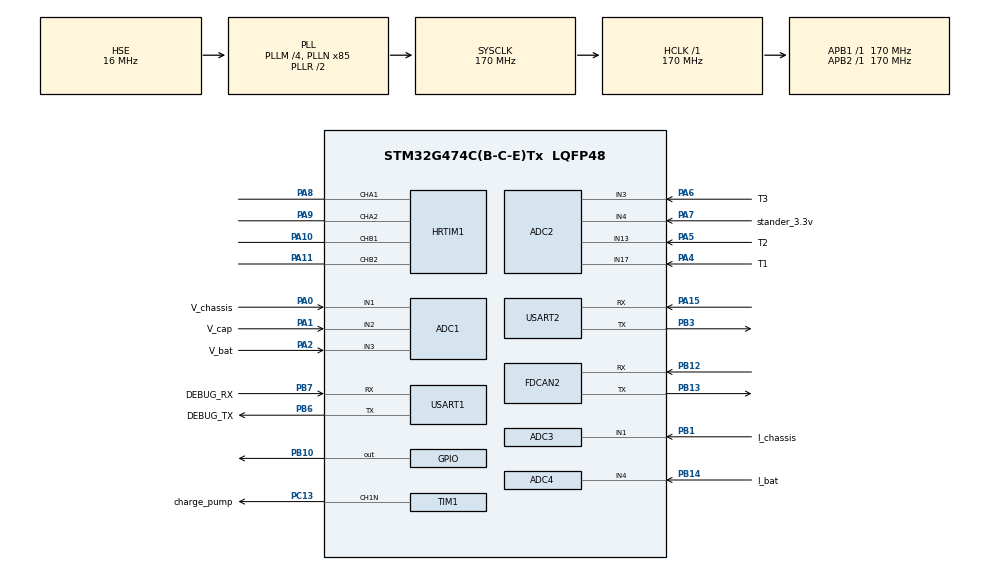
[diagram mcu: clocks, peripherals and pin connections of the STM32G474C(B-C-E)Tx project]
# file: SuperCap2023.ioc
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ADC1.Channel-0\#ChannelRegularConversion=ADC_CHANNEL_VREFINT
ADC1.Channel-3\#ChannelRegularConversion=ADC_CHANNEL_1
ADC1.Channel-4\#ChannelRegularConversion=ADC_CHANNEL_2
ADC1.Channel-5\#ChannelRegularConversion=ADC_CHANNEL_3
ADC1.ContinuousConvMode=DISABLE
ADC1.DMAContinuousRequests=ENABLE
ADC1.DiscontinuousConvMode=DISABLE
ADC1.ExternalTrigConv=ADC_EXTERNALTRIG_HRTIM_TRG3
ADC1.NbrOfConversion=4
ADC1.NbrOfConversionFlag=1
ADC1.OffsetNumber-0\#ChannelRegularConversion=ADC_OFFSET_NONE
ADC1.OffsetNumber-3\#ChannelRegularConversion=ADC_OFFSET_NONE
ADC1.OffsetNumber-4\#ChannelRegularConversion=ADC_OFFSET_NONE
ADC1.OffsetNumber-5\#ChannelRegularConversion=ADC_OFFSET_NONE
ADC1.OversamplingMode=ENABLE
ADC1.Rank-0\#ChannelRegularConversion=1
ADC1.Rank-3\#ChannelRegularConversion=2
ADC1.Rank-4\#ChannelRegularConversion=3
ADC1.Rank-5\#ChannelRegularConversion=4
ADC1.Ratio=ADC_OVERSAMPLING_RATIO_16
ADC1.RightBitShift=ADC_RIGHTBITSHIFT_NONE
ADC1.SamplingTime-0\#ChannelRegularConversion=ADC_SAMPLETIME_12CYCLES_5
ADC1.SamplingTime-3\#ChannelRegularConversion=ADC_SAMPLETIME_12CYCLES_5
ADC1.SamplingTime-4\#ChannelRegularConversion=ADC_SAMPLETIME_12CYCLES_5
ADC1.SamplingTime-5\#ChannelRegularConversion=ADC_SAMPLETIME_12CYCLES_5
ADC1.master=1
ADC2.Channel-0\#ChannelRegularConversion=ADC_CHANNEL_4
ADC2.Channel-1\#ChannelRegularConversion=ADC_CHANNEL_17
ADC2.Channel-2\#ChannelRegularConversion=ADC_CHANNEL_13
ADC2.Channel-3\#ChannelRegularConversion=ADC_CHANNEL_3
ADC2.ContinuousConvMode=DISABLE
ADC2.DMAContinuousRequests=ENABLE
ADC2.DiscontinuousConvMode=ENABLE
ADC2.ExternalTrigConv=ADC_EXTERNALTRIG_HRTIM_TRG3
ADC2.NbrOfConversion=4
ADC2.NbrOfConversionFlag=1
ADC2.NbrOfDiscConversion=3
ADC2.OffsetNumber-0\#ChannelRegularConversion=ADC_OFFSET_NONE
ADC2.OffsetNumber-1\#ChannelRegularConversion=ADC_OFFSET_NONE
ADC2.OffsetNumber-2\#ChannelRegularConversion=ADC_OFFSET_NONE
ADC2.OffsetNumber-3\#ChannelRegularConversion=ADC_OFFSET_NONE
ADC2.OversamplingMode=ENABLE
ADC2.Rank-0\#ChannelRegularConversion=1
ADC2.Rank-1\#ChannelRegularConversion=2
ADC2.Rank-2\#ChannelRegularConversion=3
ADC2.Rank-3\#ChannelRegularConversion=4
ADC2.Ratio=ADC_OVERSAMPLING_RATIO_256
ADC2.RightBitShift=ADC_RIGHTBITSHIFT_4
ADC2.SamplingTime-0\#ChannelRegularConversion=ADC_SAMPLETIME_640CYCLES_5
ADC2.SamplingTime-1\#ChannelRegularConversion=ADC_SAMPLETIME_640CYCLES_5
ADC2.SamplingTime-2\#ChannelRegularConversion=ADC_SAMPLETIME_640CYCLES_5
ADC2.SamplingTime-3\#ChannelRegularConversion=ADC_SAMPLETIME_640CYCLES_5
ADC3.Channel-2\#ChannelRegularConversion=ADC_CHANNEL_1
ADC3.DMAContinuousRequests=ENABLE
ADC3.ExternalTrigConv=ADC_EXTERNALTRIG_HRTIM_TRG3
ADC3.NbrOfConversionFlag=1
ADC3.OffsetNumber-2\#ChannelRegularConversion=ADC_OFFSET_NONE
ADC3.OversamplingMode=ENABLE
ADC3.Rank-2\#ChannelRegularConversion=1
ADC3.Ratio=ADC_OVERSAMPLING_RATIO_16
ADC3.SamplingTime-2\#ChannelRegularConversion=ADC_SAMPLETIME_12CYCLES_5
ADC3.master=1
ADC4.Channel-0\#ChannelRegularConversion=ADC_CHANNEL_4
ADC4.DMAContinuousRequests=ENABLE
ADC4.ExternalTrigConv=ADC_EXTERNALTRIG_HRTIM_TRG3
ADC4.NbrOfConversionFlag=1
ADC4.OffsetNumber-0\#ChannelRegularConversion=ADC_OFFSET_NONE
ADC4.OversamplingMode=ENABLE
ADC4.Rank-0\#ChannelRegularConversion=1
ADC4.Ratio=ADC_OVERSAMPLING_RATIO_16
ADC4.SamplingTime-0\#ChannelRegularConversion=ADC_SAMPLETIME_12CYCLES_5
Dma.ADC1.1.Direction=DMA_PERIPH_TO_MEMORY
Dma.ADC1.1.EventEnable=DISABLE
Dma.ADC1.1.Instance=DMA1_Channel2
Dma.ADC1.1.MemDataAlignment=DMA_MDATAALIGN_HALFWORD
Dma.ADC1.1.MemInc=DMA_MINC_ENABLE
Dma.ADC1.1.Mode=DMA_CIRCULAR
Dma.ADC1.1.PeriphDataAlignment=DMA_PDATAALIGN_HALFWORD
Dma.ADC1.1.PeriphInc=DMA_PINC_DISABLE
Dma.ADC1.1.Polarity=HAL_DMAMUX_REQ_GEN_RISING
Dma.ADC1.1.Priority=DMA_PRIORITY_VERY_HIGH
Dma.ADC1.1.RequestNumber=1
Dma.ADC1.1.SignalID=NONE
Dma.ADC1.1.SyncEnable=DISABLE
Dma.ADC1.1.SyncPolarity=HAL_DMAMUX_SYNC_NO_EVENT
Dma.ADC1.1.SyncRequestNumber=1
Dma.ADC1.1.SyncSignalID=NONE
Dma.ADC2.0.Direction=DMA_PERIPH_TO_MEMORY
Dma.ADC2.0.EventEnable=DISABLE
Dma.ADC2.0.Instance=DMA1_Channel1
Dma.ADC2.0.MemDataAlignment=DMA_MDATAALIGN_HALFWORD
Dma.ADC2.0.MemInc=DMA_MINC_ENABLE
Dma.ADC2.0.Mode=DMA_CIRCULAR
Dma.ADC2.0.PeriphDataAlignment=DMA_PDATAALIGN_HALFWORD
Dma.ADC2.0.PeriphInc=DMA_PINC_DISABLE
Dma.ADC2.0.Polarity=HAL_DMAMUX_REQ_GEN_RISING
Dma.ADC2.0.Priority=DMA_PRIORITY_VERY_HIGH
Dma.ADC2.0.RequestNumber=1
Dma.ADC2.0.SignalID=NONE
Dma.ADC2.0.SyncEnable=DISABLE
Dma.ADC2.0.SyncPolarity=HAL_DMAMUX_SYNC_NO_EVENT
Dma.ADC2.0.SyncRequestNumber=1
Dma.ADC2.0.SyncSignalID=NONE
Dma.ADC3.8.Direction=DMA_PERIPH_TO_MEMORY
Dma.ADC3.8.EventEnable=DISABLE
Dma.ADC3.8.Instance=DMA2_Channel1
Dma.ADC3.8.MemDataAlignment=DMA_MDATAALIGN_HALFWORD
Dma.ADC3.8.MemInc=DMA_MINC_ENABLE
Dma.ADC3.8.Mode=DMA_CIRCULAR
Dma.ADC3.8.PeriphDataAlignment=DMA_PDATAALIGN_HALFWORD
Dma.ADC3.8.PeriphInc=DMA_PINC_DISABLE
Dma.ADC3.8.Polarity=HAL_DMAMUX_REQ_GEN_RISING
Dma.ADC3.8.Priority=DMA_PRIORITY_VERY_HIGH
Dma.ADC3.8.RequestNumber=1
Dma.ADC3.8.SignalID=NONE
Dma.ADC3.8.SyncEnable=DISABLE
Dma.ADC3.8.SyncPolarity=HAL_DMAMUX_SYNC_NO_EVENT
Dma.ADC3.8.SyncRequestNumber=1
Dma.ADC3.8.SyncSignalID=NONE
Dma.ADC4.9.Direction=DMA_PERIPH_TO_MEMORY
Dma.ADC4.9.EventEnable=DISABLE
Dma.ADC4.9.Instance=DMA2_Channel2
Dma.ADC4.9.MemDataAlignment=DMA_MDATAALIGN_HALFWORD
Dma.ADC4.9.MemInc=DMA_MINC_ENABLE
Dma.ADC4.9.Mode=DMA_CIRCULAR
Dma.ADC4.9.PeriphDataAlignment=DMA_PDATAALIGN_HALFWORD
Dma.ADC4.9.PeriphInc=DMA_PINC_DISABLE
Dma.ADC4.9.Polarity=HAL_DMAMUX_REQ_GEN_RISING
Dma.ADC4.9.Priority=DMA_PRIORITY_VERY_HIGH
Dma.ADC4.9.RequestNumber=1
Dma.ADC4.9.SignalID=NONE
Dma.ADC4.9.SyncEnable=DISABLE
Dma.ADC4.9.SyncPolarity=HAL_DMAMUX_SYNC_NO_EVENT
Dma.ADC4.9.SyncRequestNumber=1
Dma.ADC4.9.SyncSignalID=NONE
Dma.HRTIM1_A.5.Direction=DMA_PERIPH_TO_MEMORY
Dma.HRTIM1_A.5.EventEnable=DISABLE
Dma.HRTIM1_A.5.Instance=DMA1_Channel7
Dma.HRTIM1_A.5.MemDataAlignment=DMA_MDATAALIGN_HALFWORD
Dma.HRTIM1_A.5.MemInc=DMA_MINC_ENABLE
Dma.HRTIM1_A.5.Mode=DMA_CIRCULAR
Dma.HRTIM1_A.5.PeriphDataAlignment=DMA_PDATAALIGN_HALFWORD
Dma.HRTIM1_A.5.PeriphInc=DMA_PINC_DISABLE
Dma.HRTIM1_A.5.Polarity=HAL_DMAMUX_REQ_GEN_RISING
Dma.HRTIM1_A.5.Priority=DMA_PRIORITY_VERY_HIGH
Dma.HRTIM1_A.5.RequestNumber=1
Dma.HRTIM1_A.5.SignalID=NONE
Dma.HRTIM1_A.5.SyncEnable=DISABLE
Dma.HRTIM1_A.5.SyncPolarity=HAL_DMAMUX_SYNC_NO_EVENT
Dma.HRTIM1_A.5.SyncRequestNumber=1
Dma.HRTIM1_A.5.SyncSignalID=NONE
Dma.HRTIM1_B.6.Direction=DMA_PERIPH_TO_MEMORY
Dma.HRTIM1_B.6.EventEnable=DISABLE
Dma.HRTIM1_B.6.Instance=DMA1_Channel8
Dma.HRTIM1_B.6.MemDataAlignment=DMA_MDATAALIGN_HALFWORD
Dma.HRTIM1_B.6.MemInc=DMA_MINC_ENABLE
Dma.HRTIM1_B.6.Mode=DMA_CIRCULAR
Dma.HRTIM1_B.6.PeriphDataAlignment=DMA_PDATAALIGN_HALFWORD
Dma.HRTIM1_B.6.PeriphInc=DMA_PINC_DISABLE
Dma.HRTIM1_B.6.Polarity=HAL_DMAMUX_REQ_GEN_RISING
Dma.HRTIM1_B.6.Priority=DMA_PRIORITY_VERY_HIGH
Dma.HRTIM1_B.6.RequestNumber=1
Dma.HRTIM1_B.6.SignalID=NONE
Dma.HRTIM1_B.6.SyncEnable=DISABLE
Dma.HRTIM1_B.6.SyncPolarity=HAL_DMAMUX_SYNC_NO_EVENT
Dma.HRTIM1_B.6.SyncRequestNumber=1
Dma.HRTIM1_B.6.SyncSignalID=NONE
Dma.Request0=ADC2
Dma.Request1=ADC1
Dma.Request2=USART1_RX
Dma.Request3=USART1_TX
Dma.Request4=USART2_RX
Dma.Request5=HRTIM1_A
Dma.Request6=HRTIM1_B
Dma.Request7=USART2_TX
Dma.Request8=ADC3
Dma.Request9=ADC4
Dma.USART1_RX.2.Direction=DMA_PERIPH_TO_MEMORY
Dma.USART1_RX.2.EventEnable=DISABLE
Dma.USART1_RX.2.Instance=DMA1_Channel5
Dma.USART1_RX.2.MemDataAlignment=DMA_MDATAALIGN_BYTE
Dma.USART1_RX.2.MemInc=DMA_MINC_ENABLE
Dma.USART1_RX.2.Mode=DMA_NORMAL
Dma.USART1_RX.2.PeriphDataAlignment=DMA_PDATAALIGN_BYTE
Dma.USART1_RX.2.PeriphInc=DMA_PINC_DISABLE
Dma.USART1_RX.2.Polarity=HAL_DMAMUX_REQ_GEN_RISING
Dma.USART1_RX.2.Priority=DMA_PRIORITY_HIGH
Dma.USART1_RX.2.RequestNumber=1
Dma.USART1_RX.2.SignalID=NONE
Dma.USART1_RX.2.SyncEnable=DISABLE
Dma.USART1_RX.2.SyncPolarity=HAL_DMAMUX_SYNC_NO_EVENT
Dma.USART1_RX.2.SyncRequestNumber=1
Dma.USART1_RX.2.SyncSignalID=NONE
Dma.USART1_TX.3.Direction=DMA_MEMORY_TO_PERIPH
Dma.USART1_TX.3.EventEnable=DISABLE
Dma.USART1_TX.3.Instance=DMA1_Channel6
Dma.USART1_TX.3.MemDataAlignment=DMA_MDATAALIGN_BYTE
Dma.USART1_TX.3.MemInc=DMA_MINC_ENABLE
Dma.USART1_TX.3.Mode=DMA_NORMAL
Dma.USART1_TX.3.PeriphDataAlignment=DMA_PDATAALIGN_BYTE
Dma.USART1_TX.3.PeriphInc=DMA_PINC_DISABLE
Dma.USART1_TX.3.Polarity=HAL_DMAMUX_REQ_GEN_RISING
Dma.USART1_TX.3.Priority=DMA_PRIORITY_HIGH
Dma.USART1_TX.3.RequestNumber=1
Dma.USART1_TX.3.SignalID=NONE
Dma.USART1_TX.3.SyncEnable=DISABLE
Dma.USART1_TX.3.SyncPolarity=HAL_DMAMUX_SYNC_NO_EVENT
Dma.USART1_TX.3.SyncRequestNumber=1
Dma.USART1_TX.3.SyncSignalID=NONE
Dma.USART2_RX.4.Direction=DMA_PERIPH_TO_MEMORY
Dma.USART2_RX.4.EventEnable=DISABLE
Dma.USART2_RX.4.Instance=DMA1_Channel3
Dma.USART2_RX.4.MemDataAlignment=DMA_MDATAALIGN_BYTE
Dma.USART2_RX.4.MemInc=DMA_MINC_ENABLE
Dma.USART2_RX.4.Mode=DMA_NORMAL
Dma.USART2_RX.4.PeriphDataAlignment=DMA_PDATAALIGN_BYTE
Dma.USART2_RX.4.PeriphInc=DMA_PINC_DISABLE
Dma.USART2_RX.4.Polarity=HAL_DMAMUX_REQ_GEN_RISING
Dma.USART2_RX.4.Priority=DMA_PRIORITY_MEDIUM
Dma.USART2_RX.4.RequestNumber=1
Dma.USART2_RX.4.SignalID=NONE
Dma.USART2_RX.4.SyncEnable=DISABLE
Dma.USART2_RX.4.SyncPolarity=HAL_DMAMUX_SYNC_NO_EVENT
Dma.USART2_RX.4.SyncRequestNumber=1
Dma.USART2_RX.4.SyncSignalID=NONE
Dma.USART2_TX.7.Direction=DMA_MEMORY_TO_PERIPH
Dma.USART2_TX.7.EventEnable=DISABLE
Dma.USART2_TX.7.Instance=DMA1_Channel4
Dma.USART2_TX.7.MemDataAlignment=DMA_MDATAALIGN_BYTE
Dma.USART2_TX.7.MemInc=DMA_MINC_ENABLE
Dma.USART2_TX.7.Mode=DMA_CIRCULAR
Dma.USART2_TX.7.PeriphDataAlignment=DMA_PDATAALIGN_BYTE
Dma.USART2_TX.7.PeriphInc=DMA_PINC_DISABLE
Dma.USART2_TX.7.Polarity=HAL_DMAMUX_REQ_GEN_RISING
Dma.USART2_TX.7.Priority=DMA_PRIORITY_MEDIUM
Dma.USART2_TX.7.RequestNumber=1
Dma.USART2_TX.7.SignalID=NONE
Dma.USART2_TX.7.SyncEnable=DISABLE
Dma.USART2_TX.7.SyncPolarity=HAL_DMAMUX_SYNC_NO_EVENT
Dma.USART2_TX.7.SyncRequestNumber=1
Dma.USART2_TX.7.SyncSignalID=NONE
FDCAN2.AutoRetransmission=ENABLE
FDCAN2.CalculateBaudRateNominal=999999
FDCAN2.CalculateTimeQuantumNominal=58.82352941176471
FDCAN2.DataPrescaler=5
FDCAN2.DataSyncJumpWidth=1
FDCAN2.DataTimeSeg1=8
FDCAN2.DataTimeSeg2=8
FDCAN2.FrameFormat=FDCAN_FRAME_FD_BRS
FDCAN2.NominalPrescaler=10
FDCAN2.NominalSyncJumpWidth=1
FDCAN2.NominalTimeSeg1=8
FDCAN2.NominalTimeSeg2=8
FDCAN2.ProtocolException=ENABLE
FDCAN2.TransmitPause=DISABLE
HRTIM1.ADCTrigger3_Source1=HRTIM_ADCTRIGGEREVENT13_TIMERB_CMP3
HRTIM1.ADCTrigger_Id1=__NULL
HRTIM1.ADCTrigger_Id2=__NULL
HRTIM1.ADCTrigger_Id3=HRTIM_ADCTRIGGER_3
HRTIM1.CompareUnit1-MasterTimer=HRTIM_COMPAREUNIT_1
HRTIM1.CompareUnit1-Output_TA1TA2=HRTIM_COMPAREUNIT_1
HRTIM1.CompareUnit1-Output_TB1TB2=HRTIM_COMPAREUNIT_1
HRTIM1.CompareUnit2-MasterTimer=__NULL
HRTIM1.CompareUnit2-Output_TA1TA2=__NULL
HRTIM1.CompareUnit2-Output_TB1TB2=__NULL
HRTIM1.CompareUnit3-MasterTimer=__NULL
HRTIM1.CompareUnit3-Output_TA1TA2=HRTIM_COMPAREUNIT_3
HRTIM1.CompareUnit3-Output_TB1TB2=HRTIM_COMPAREUNIT_3
HRTIM1.CompareUnit4-MasterTimer=__NULL
HRTIM1.CompareValue1-MasterTimer=13600
HRTIM1.CompareValue1-Output_TA1TA2=13600
HRTIM1.CompareValue1-Output_TB1TB2=13600
HRTIM1.CompareValue3-Output_TA1TA2=20400
HRTIM1.CompareValue3-Output_TB1TB2=6800-1000
HRTIM1.DMADstAddress-Output_TA1TA2=(uint32_t)&(hhrtim1.Instance->sTimerxRegs[HRTIM_TIMERINDEX_TIMER_A].CMP1xR)
HRTIM1.DMADstAddress-Output_TB1TB2=(uint32_t)&(hhrtim1.Instance->sTimerxRegs[HRTIM_TIMERINDEX_TIMER_B].CMP1xR)
HRTIM1.DMARequests1-Output_TA1TA2=HRTIM_TIM_DMA_CMP3
HRTIM1.DMARequests1-Output_TB1TB2=HRTIM_TIM_DMA_CMP3
HRTIM1.DMASize-Output_TA1TA2=0x1
HRTIM1.DMASize-Output_TB1TB2=0x1
HRTIM1.DMASrcAddress-Output_TA1TA2=(uint32_t)&HRTIM_DMA_Buffer[0]
HRTIM1.DMASrcAddress-Output_TB1TB2=(uint32_t)&HRTIM_DMA_Buffer[1]
HRTIM1.DeadTimeInsertion-Output_TA1TA2=HRTIM_TIMDEADTIMEINSERTION_ENABLED
HRTIM1.DeadTimeInsertion-Output_TB1TB2=HRTIM_TIMDEADTIMEINSERTION_ENABLED
HRTIM1.FallingValue-Output_TA1TA2=12
HRTIM1.FallingValue-Output_TB1TB2=12
HRTIM1.GreaterCMP1_TA=HRTIM_TIMERGTCMP1_EQUAL
HRTIM1.InterruptRequests1_Master=HRTIM_MASTER_IT_MCMP1
HRTIM1.ModeTimeBase-Output_TA1TA2=HRTIM_MODE_SINGLESHOT_RETRIGGERABLE
HRTIM1.ModeTimeBase-Output_TB1TB2=HRTIM_MODE_SINGLESHOT_RETRIGGERABLE
HRTIM1.NumberADCTriggerSource3=1
HRTIM1.NumberDMARequests_TA=1
HRTIM1.NumberDMARequests_TB=1
HRTIM1.NumberInterruptRequests_Master-MasterTimer=1
HRTIM1.NumberResetSource1-Output_TA1TA2=1
HRTIM1.NumberResetSource1-Output_TB1TB2=1
HRTIM1.NumberResetTrigger-Output_TA1TA2=1
HRTIM1.NumberResetTrigger-Output_TB1TB2=1
HRTIM1.NumberSetSource1-Output_TA1TA2=1
HRTIM1.NumberSetSource1-Output_TB1TB2=1
HRTIM1.NumberUpdateTrigger-Output_TA1TA2=1
HRTIM1.NumberUpdateTrigger-Output_TB1TB2=1
HRTIM1.ORingUpdateSource_ADCTrigger3=HRTIM_ADCTRIGGERUPDATE_TIMER_B
HRTIM1.Periode_MASTER=27200
HRTIM1.Periode_TA=27200
HRTIM1.Periode_TB=27200
HRTIM1.PreloadEnable-MasterTimer=HRTIM_PRELOAD_ENABLED
HRTIM1.PreloadEnable-Output_TA1TA2=HRTIM_PRELOAD_ENABLED
HRTIM1.PreloadEnable-Output_TB1TB2=HRTIM_PRELOAD_ENABLED
HRTIM1.PrescalerDead-Output_TA1TA2=HRTIM_TIMDEADTIME_PRESCALERRATIO_DIV1
HRTIM1.PrescalerDead-Output_TB1TB2=HRTIM_TIMDEADTIME_PRESCALERRATIO_DIV1
HRTIM1.PrescalerRatio_MASTER=HRTIM_PRESCALERRATIO_MUL32
HRTIM1.PrescalerRatio_TA=HRTIM_PRESCALERRATIO_MUL32
HRTIM1.PrescalerRatio_TB=HRTIM_PRESCALERRATIO_MUL32
HRTIM1.ReSyncUpdate-Output_TA1TA2=HRTIM_TIMERESYNC_UPDATE_UNCONDITIONAL
HRTIM1.RepetitionUpdate-MasterTimer=HRTIM_UPDATEONREPETITION_ENABLED
HRTIM1.RepetitionUpdate-Output_TA1TA2=HRTIM_UPDATEONREPETITION_ENABLED
HRTIM1.RepetitionUpdate-Output_TB1TB2=HRTIM_UPDATEONREPETITION_ENABLED
HRTIM1.ResetOutput1_Source1-Output_TA1TA2=HRTIM_OUTPUTRESET_TIMPER
HRTIM1.ResetOutput1_Source1-Output_TB1TB2=HRTIM_OUTPUTRESET_TIMPER
HRTIM1.ResetTrigger1-Output_TA1TA2=HRTIM_TIMRESETTRIGGER_MASTER_PER
HRTIM1.ResetTrigger1-Output_TB1TB2=HRTIM_TIMRESETTRIGGER_MASTER_CMP1
HRTIM1.ResetUpdate-Output_TA1TA2=HRTIM_TIMUPDATEONRESET_ENABLED
HRTIM1.ResetUpdate-Output_TB1TB2=HRTIM_TIMUPDATEONRESET_ENABLED
HRTIM1.RisingValue-Output_TA1TA2=12
HRTIM1.RisingValue-Output_TB1TB2=12
HRTIM1.SetOutput1_Source1-Output_TA1TA2=HRTIM_OUTPUTSET_TIMCMP1
HRTIM1.SetOutput1_Source1-Output_TB1TB2=HRTIM_OUTPUTSET_TIMCMP1
HRTIM1.UpdateTrigger1-Output_TA1TA2=HRTIM_TIMUPDATETRIGGER_MASTER
HRTIM1.UpdateTrigger1-Output_TB1TB2=HRTIM_TIMUPDATETRIGGER_MASTER
HRTIM1.postscaler3=0x00
Mcu.Family=STM32G4
Mcu.Name=STM32G474C(B-C-E)Tx
Mcu.Package=LQFP48
NVIC.DMA1_Channel1_IRQn=true\:0\:0\:false\:false\:true\:false\:true\:true
NVIC.DMA1_Channel2_IRQn=true\:0\:0\:false\:false\:true\:false\:true\:true
NVIC.DMA1_Channel3_IRQn=true\:0\:0\:false\:false\:true\:false\:true\:true
NVIC.DMA1_Channel4_IRQn=true\:0\:0\:false\:false\:true\:false\:true\:true
NVIC.DMA1_Channel5_IRQn=true\:0\:0\:false\:false\:true\:false\:true\:true
NVIC.DMA1_Channel6_IRQn=true\:0\:0\:false\:false\:true\:false\:true\:true
NVIC.DMA1_Channel7_IRQn=true\:0\:0\:false\:false\:true\:false\:true\:true
NVIC.DMA1_Channel8_IRQn=true\:0\:0\:false\:false\:true\:false\:true\:true
NVIC.DMA2_Channel1_IRQn=true\:0\:0\:false\:false\:true\:false\:true\:true
NVIC.DMA2_Channel2_IRQn=true\:0\:0\:false\:false\:true\:false\:true\:true
NVIC.FDCAN2_IT0_IRQn=true\:3\:0\:true\:false\:true\:true\:true\:true
NVIC.PriorityGroup=NVIC_PRIORITYGROUP_4
NVIC.TIM1_UP_TIM16_IRQn=true\:0\:0\:true\:false\:true\:true\:true\:true
NVIC.TIM6_DAC_IRQn=true\:0\:0\:true\:false\:true\:true\:true\:true
NVIC.TIM7_DAC_IRQn=true\:0\:0\:true\:false\:true\:true\:true\:true
NVIC.USART1_IRQn=true\:0\:0\:true\:false\:true\:true\:true\:true
NVIC.USART2_IRQn=true\:5\:0\:true\:false\:true\:true\:true\:true
PA0.GPIO_Label=V_chassis
PA0.Mode=IN1-Single-Ended
PA0.Signal=ADC1_IN1
PA1.GPIO_Label=V_cap
PA1.Signal=SharedAnalog_PA1
PA10.GPIO_Speed_High_Default=GPIO_SPEED_FREQ_MEDIUM
PA10.Mode=Output_TB1TB2
PA10.Signal=HRTIM1_CHB1
PA11.GPIO_Speed_High_Default=GPIO_SPEED_FREQ_MEDIUM
PA11.Mode=Output_TB1TB2
PA11.Signal=HRTIM1_CHB2
PA13.Mode=Serial_Wire
PA13.Signal=SYS_JTMS-SWDIO
PA14.Mode=Serial_Wire
PA14.Signal=SYS_JTCK-SWCLK
PA15.GPIO_PuPd=GPIO_PULLUP
PA15.Mode=Asynchronous
PA15.Signal=USART2_RX
PA2.GPIO_Label=V_bat
PA2.Mode=IN3-Single-Ended
PA2.Signal=ADC1_IN3
PA4.GPIO_Label=T1
PA4.Mode=IN17-Single-Ended
PA4.Signal=ADC2_IN17
PA5.GPIO_Label=T2
PA5.Mode=IN13-Single-Ended
PA5.Signal=ADC2_IN13
PA6.GPIO_Label=T3
PA6.Mode=IN3-Single-Ended
PA6.Signal=ADC2_IN3
PA7.GPIO_Label=stander_3.3v
PA7.Mode=IN4-Single-Ended
PA7.Signal=ADC2_IN4
PA8.GPIO_Speed_High_Default=GPIO_SPEED_FREQ_MEDIUM
PA8.Mode=Output_TA1TA2
PA8.Signal=HRTIM1_CHA1
PA9.GPIO_Speed_High_Default=GPIO_SPEED_FREQ_MEDIUM
PA9.Mode=Output_TA1TA2
PA9.Signal=HRTIM1_CHA2
PB1.GPIO_Label=I_chassis
PB1.Mode=IN1-Single-Ended
PB1.Signal=ADC3_IN1
PB10.GPIO_Speed=GPIO_SPEED_FREQ_VERY_HIGH
PB10.Signal=GPIO_Output
PB12.GPIO_Speed=GPIO_SPEED_FREQ_VERY_HIGH
PB12.Mode=FDCAN_Activate
PB12.Signal=FDCAN2_RX
PB13.GPIO_Speed=GPIO_SPEED_FREQ_VERY_HIGH
PB13.Mode=FDCAN_Activate
PB13.Signal=FDCAN2_TX
PB14.GPIO_Label=I_bat
PB14.Signal=SharedAnalog_PB14
PB3.GPIO_PuPd=GPIO_PULLUP
PB3.Mode=Asynchronous
PB3.Signal=USART2_TX
PB6.GPIO_Label=DEBUG_TX
PB6.GPIO_PuPd=GPIO_PULLUP
PB6.GPIO_Speed=GPIO_SPEED_FREQ_LOW
PB6.Mode=Asynchronous
PB6.Signal=USART1_TX
PB7.GPIO_Label=DEBUG_RX
PB7.GPIO_PuPd=GPIO_PULLUP
PB7.GPIO_Speed=GPIO_SPEED_FREQ_LOW
PB7.Mode=Asynchronous
PB7.Signal=USART1_RX
PC13.GPIO_Label=charge_pump
PC13.Mode=PWM Generation1 CH1N
PC13.Signal=TIM1_CH1N
PF0-OSC_IN.Mode=HSE-External-Oscillator
PF0-OSC_IN.Signal=RCC_OSC_IN
PF1-OSC_OUT.Mode=HSE-External-Oscillator
PF1-OSC_OUT.Signal=RCC_OSC_OUT
ProjectManager.HeapSize=0x200
ProjectManager.StackSize=0x400
ProjectManager.TargetToolchain=MDK-ARM V5.32
RCC.ADC12Freq_Value=170000000
RCC.ADC345Freq_Value=170000000
RCC.AHBFreq_Value=170000000
RCC.APB1Freq_Value=170000000
RCC.APB1TimFreq_Value=170000000
RCC.APB2Freq_Value=170000000
RCC.APB2TimFreq_Value=170000000
RCC.CortexFreq_Value=170000000
RCC.EXTERNAL_CLOCK_VALUE=12288000
RCC.HCLKFreq_Value=170000000
RCC.HSE_VALUE=16000000
RCC.HSI48_VALUE=48000000
RCC.HSI_VALUE=16000000
RCC.LSE_VALUE=32768
RCC.PLLM=RCC_PLLM_DIV4
RCC.PLLN=85
RCC.PLLSourceVirtual=RCC_PLLSOURCE_HSE
RCC.SYSCLKFreq_VALUE=170000000
RCC.SYSCLKSource=RCC_SYSCLKSOURCE_PLLCLK
RCC.USBFreq_Value=170000000
RCC.VCOOutputFreq_Value=340000000
SH.SharedAnalog_PA1.0=ADC2_IN2
SH.SharedAnalog_PA1.1=ADC1_IN2,IN2-Single-Ended
SH.SharedAnalog_PB14.0=ADC1_IN5
SH.SharedAnalog_PB14.1=ADC4_IN4,IN4-Single-Ended
TIM1.Channel-PWM\ Generation1\ CH1N=TIM_CHANNEL_1
TIM1.PeriodNoDither=25-1
TIM1.Prescaler=170-1
TIM1.PulseNoDither_1=12
TIM16.PeriodNoDither=20000-1
TIM16.Prescaler=170-1
TIM6.PeriodNoDither=2000-1
TIM6.Prescaler=170-1
TIM7.PeriodNoDither=200-1
TIM7.Prescaler=17-1
USART1.DMADisableonRxErrorParam=ADVFEATURE_DMA_ENABLEONRXERROR
USART1.OverrunDisableParam=ADVFEATURE_OVERRUN_ENABLE
USART1.VirtualMode-Asynchronous=VM_ASYNC
USART2.VirtualMode-Asynchronous=VM_ASYNC
VP_ADC1_Vref_Input.Mode=IN-Vrefint
VP_HRTIM1_VS_hrtimMasterTimerNoOutput.Mode=MasterTimer
VP_SYS_VS_DBSignals.Mode=DisableDeadBatterySignals
VP_TIM16_VS_ClockSourceINT.Mode=Enable_Timer
VP_TIM6_VS_ClockSourceINT.Mode=Enable_Timer
VP_TIM7_VS_ClockSourceINT.Mode=Enable_Timer
board=custom

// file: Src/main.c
/* USER CODE BEGIN Header */
/**
  ******************************************************************************
  * @file           : main.c
  * @brief          : Main program body
  ******************************************************************************
  * @attention
  *
  * <h2><center>&copy; Copyright (c) 2023 STMicroelectronics.
  * All rights reserved.</center></h2>
  *
  * This software component is licensed by ST under BSD 3-Clause license,
  * the "License"; You may not use this file except in compliance with the
  * License. You may obtain a copy of the License at:
  *                        opensource.org/licenses/BSD-3-Clause
  *
  ******************************************************************************
  */
/* USER CODE END Header */
#include "main.h"
#include "adc.h"
#include "dma.h"
#include "fdcan.h"
#include "hrtim.h"
#include "tim.h"
#include "usart.h"
#include "gpio.h"

/* USER CODE BEGIN Includes */
#include "bsp_adc.h"
#include "bsp_uart.h"
#include "bsp_fdcan.h"
#include "data_scope.h"
#include "filter.h"
#include "power_ctrl_task.h"

/* USER CODE END Includes */

void SystemClock_Config(void);

int main(void)
{

  /* MCU Configuration--------------------------------------------------------*/

  /* Reset of all peripherals, Initializes the Flash interface and the Systick. */
  HAL_Init();

  /* Configure the system clock */
  SystemClock_Config();

  /* Initialize all configured peripherals */
  MX_GPIO_Init();
  MX_DMA_Init();
  MX_ADC1_Init();
  MX_ADC2_Init();
  MX_FDCAN2_Init();
  MX_USART1_UART_Init();
  MX_HRTIM1_Init();
  MX_TIM7_Init();
  MX_USART2_UART_Init();
  MX_TIM6_Init();
  MX_TIM16_Init();
  MX_ADC3_Init();
  MX_TIM1_Init();
  MX_ADC4_Init();
  /* USER CODE BEGIN 2 */
	USER_UART_Init();
	can_filter_init();
	filterInit();
	adcInit();
	pidInit();
//	HAL_TIMEx_PWMN_Start(&htim1,TIM_CHANNEL_1);
	HAL_HRTIM_WaveformCounterStart_DMA(&hhrtim1, HRTIM_TIMERID_TIMER_B | HRTIM_TIMERID_TIMER_A | HRTIM_TIMERID_MASTER);
	HAL_TIM_Base_Start_IT(&htim6);
	HAL_TIM_Base_Start_IT(&htim7);
	HAL_TIM_Base_Start_IT(&htim16);
	POWER_MODE = PROTECT;
  /* USER CODE END 2 */

  /* Infinite loop */
  while (1)
  {

  }
}

void SystemClock_Config(void)
{
  RCC_OscInitTypeDef RCC_OscInitStruct = {0};
  RCC_ClkInitTypeDef RCC_ClkInitStruct = {0};

  /** Configure the main internal regulator output voltage
  */
  HAL_PWREx_ControlVoltageScaling(PWR_REGULATOR_VOLTAGE_SCALE1_BOOST);

  /** Initializes the RCC Oscillators according to the specified parameters
  * in the RCC_OscInitTypeDef structure.
  */
  RCC_OscInitStruct.OscillatorType = RCC_OSCILLATORTYPE_HSE;
  RCC_OscInitStruct.HSEState = RCC_HSE_ON;
  RCC_OscInitStruct.PLL.PLLState = RCC_PLL_ON;
  RCC_OscInitStruct.PLL.PLLSource = RCC_PLLSOURCE_HSE;
  RCC_OscInitStruct.PLL.PLLM = RCC_PLLM_DIV4;
  RCC_OscInitStruct.PLL.PLLN = 85;
  RCC_OscInitStruct.PLL.PLLP = RCC_PLLP_DIV2;
  RCC_OscInitStruct.PLL.PLLQ = RCC_PLLQ_DIV2;
  RCC_OscInitStruct.PLL.PLLR = RCC_PLLR_DIV2;
  if (HAL_RCC_OscConfig(&RCC_OscInitStruct) != HAL_OK)
  {
    Error_Handler();
  }

  /** Initializes the CPU, AHB and APB buses clocks
  */
  RCC_ClkInitStruct.ClockType = RCC_CLOCKTYPE_HCLK|RCC_CLOCKTYPE_SYSCLK
                              |RCC_CLOCKTYPE_PCLK1|RCC_CLOCKTYPE_PCLK2;
  RCC_ClkInitStruct.SYSCLKSource = RCC_SYSCLKSOURCE_PLLCLK;
  RCC_ClkInitStruct.AHBCLKDivider = RCC_SYSCLK_DIV1;
  RCC_ClkInitStruct.APB1CLKDivider = RCC_HCLK_DIV1;
  RCC_ClkInitStruct.APB2CLKDivider = RCC_HCLK_DIV1;

  if (HAL_RCC_ClockConfig(&RCC_ClkInitStruct, FLASH_LATENCY_4) != HAL_OK)
  {
    Error_Handler();
  }
}

void Error_Handler(void)
{
  __disable_irq();
  while (1)
  {
  }
}
